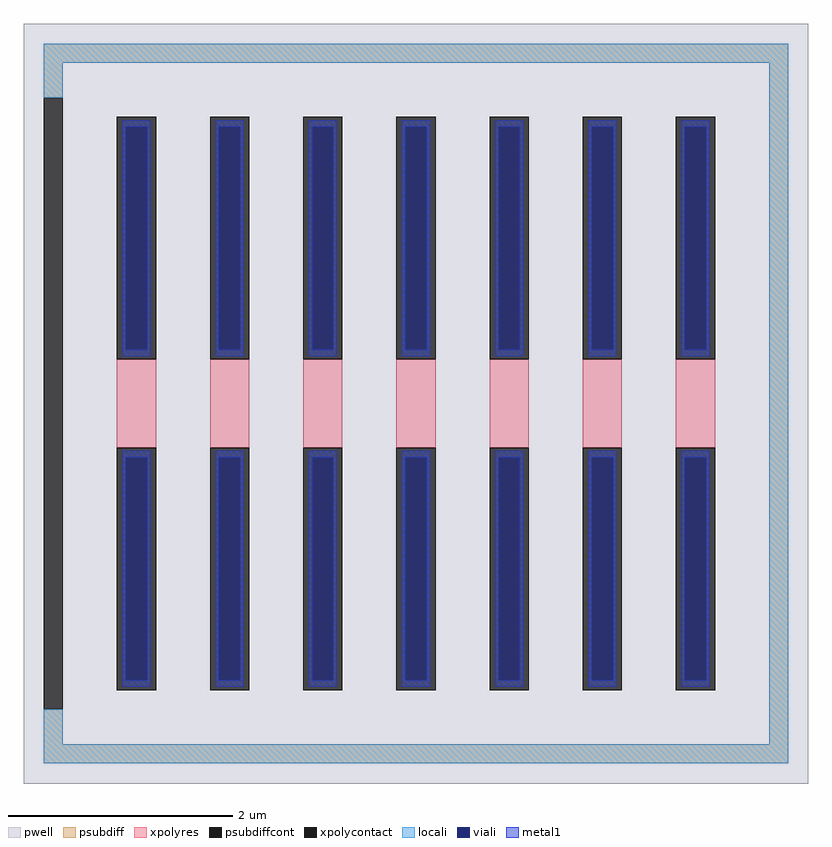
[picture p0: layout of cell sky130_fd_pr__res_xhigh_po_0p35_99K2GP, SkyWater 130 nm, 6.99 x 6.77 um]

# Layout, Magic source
magic
tech sky130A
magscale 1 2
<< pwell >>
rect -699 -677 699 677
<< psubdiff >>
rect -663 607 663 641
rect -663 545 -629 607
rect -663 -607 -629 -545
rect 629 -607 663 607
rect -663 -641 663 -607
<< psubdiffcont >>
rect -663 -545 -629 545
<< xpolycontact >>
rect -533 79 -463 511
rect -533 -511 -463 -79
rect -367 79 -297 511
rect -367 -511 -297 -79
rect -201 79 -131 511
rect -201 -511 -131 -79
rect -35 79 35 511
rect -35 -511 35 -79
rect 131 79 201 511
rect 131 -511 201 -79
rect 297 79 367 511
rect 297 -511 367 -79
rect 463 79 533 511
rect 463 -511 533 -79
<< xpolyres >>
rect -533 -79 -463 79
rect -367 -79 -297 79
rect -201 -79 -131 79
rect -35 -79 35 79
rect 131 -79 201 79
rect 297 -79 367 79
rect 463 -79 533 79
<< locali >>
rect -663 607 663 641
rect -663 545 -629 607
rect -663 -607 -629 -545
rect 629 -607 663 607
rect -663 -641 663 -607
<< viali >>
rect -517 96 -479 493
rect -351 96 -313 493
rect -185 96 -147 493
rect -19 96 19 493
rect 147 96 185 493
rect 313 96 351 493
rect 479 96 517 493
rect -517 -493 -479 -96
rect -351 -493 -313 -96
rect -185 -493 -147 -96
rect -19 -493 19 -96
rect 147 -493 185 -96
rect 313 -493 351 -96
rect 479 -493 517 -96
<< metal1 >>
rect -523 493 -473 505
rect -523 96 -517 493
rect -479 96 -473 493
rect -523 84 -473 96
rect -357 493 -307 505
rect -357 96 -351 493
rect -313 96 -307 493
rect -357 84 -307 96
rect -191 493 -141 505
rect -191 96 -185 493
rect -147 96 -141 493
rect -191 84 -141 96
rect -25 493 25 505
rect -25 96 -19 493
rect 19 96 25 493
rect -25 84 25 96
rect 141 493 191 505
rect 141 96 147 493
rect 185 96 191 493
rect 141 84 191 96
rect 307 493 357 505
rect 307 96 313 493
rect 351 96 357 493
rect 307 84 357 96
rect 473 493 523 505
rect 473 96 479 493
rect 517 96 523 493
rect 473 84 523 96
rect -523 -96 -473 -84
rect -523 -493 -517 -96
rect -479 -493 -473 -96
rect -523 -505 -473 -493
rect -357 -96 -307 -84
rect -357 -493 -351 -96
rect -313 -493 -307 -96
rect -357 -505 -307 -493
rect -191 -96 -141 -84
rect -191 -493 -185 -96
rect -147 -493 -141 -96
rect -191 -505 -141 -493
rect -25 -96 25 -84
rect -25 -493 -19 -96
rect 19 -493 25 -96
rect -25 -505 25 -493
rect 141 -96 191 -84
rect 141 -493 147 -96
rect 185 -493 191 -96
rect 141 -505 191 -493
rect 307 -96 357 -84
rect 307 -493 313 -96
rect 351 -493 357 -96
rect 307 -505 357 -493
rect 473 -96 523 -84
rect 473 -493 479 -96
rect 517 -493 523 -96
rect 473 -505 523 -493
<< properties >>
string FIXED_BBOX -646 -624 646 624
string gencell sky130_fd_pr__res_xhigh_po_0p35
string library sky130
string parameters w 0.350 l 0.95 m 1 nx 7 wmin 0.350 lmin 0.50 rho 2000 val 6.504k dummy 0 dw 0.0 term 188.2 sterm 0.0 caplen 0 wmax 0.350 guard 1 glc 1 grc 0 gtc 0 gbc 0 compatible {sky130_fd_pr__res_xhigh_po_0p35  sky130_fd_pr__res_xhigh_po_0p69 sky130_fd_pr__res_xhigh_po_1p41  sky130_fd_pr__res_xhigh_po_2p85 sky130_fd_pr__res_xhigh_po_5p73} snake 0 full_metal 1 n_guard 0 hv_guard 0 vias 1 viagb 0 viagt 0 viagl 0 viagr 0
<< end >>
